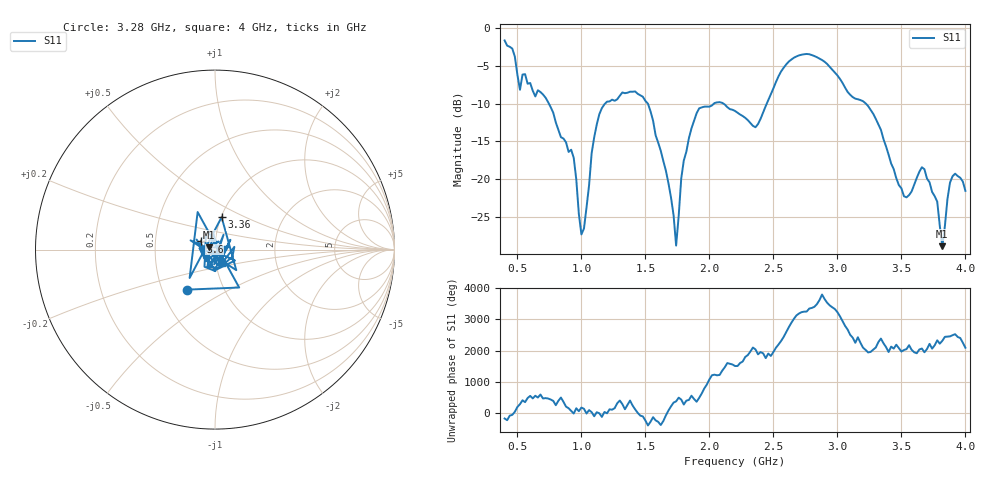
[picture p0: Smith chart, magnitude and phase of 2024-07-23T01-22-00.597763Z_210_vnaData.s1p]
!Created with skrf (http://scikit-rf.org).
# Hz S RI R 50.0
!freq ReS11 ImS11
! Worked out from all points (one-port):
!   181 points, 400 MHz to 4 GHz, reference 50 ohm
!   lowest |S11| = -28.8 dB at 3.82 GHz (marker M1), VSWR 1.08, Z = 46.7 + j1.2 ohm
!   |S11| at or under -10 dB: 745.7 MHz to 1.185 GHz (439.6 MHz wide, 45.5 % of centre); 1.519 GHz to 2.036 GHz (516.3 MHz wide, 29 % of centre); 3.222 GHz to end of sweep (the widest 3 of 4)
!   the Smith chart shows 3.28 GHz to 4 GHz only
!   S11 on the Smith chart (normalised r, x): 3.28 GHz: 0.67, -0.32; 3.36 GHz: 1.01, +0.38; 3.6 GHz: 0.85, +0.08; 4 GHz: 1.06, -0.16
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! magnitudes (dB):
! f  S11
! 400 MHz  -1.7
! 480 MHz  -3.8
! 520 MHz  -8.2
! 560 MHz  -6.1
! 860 MHz  -14.6
! 940 MHz  -17.2
! 1 GHz  -27.3
! 1.14 GHz  -11.4
! 1.3 GHz  -9.0
! 1.52 GHz  -10.0
! 1.68 GHz  -20.5
! 1.74 GHz  -28.8
! 1.76 GHz  -24.9
! 1.8 GHz  -17.5
! 1.92 GHz  -10.6
! 2.2 GHz  -11.0
! 2.36 GHz  -13.1
! 2.66 GHz  -3.9
! 3.1 GHz  -8.8
! 3.28 GHz  -11.3
! 3.36 GHz  -14.7
! 3.56 GHz  -22.1
! 3.6 GHz  -20.7
! 3.68 GHz  -18.7
! 3.78 GHz  -23.0
! 3.82 GHz  -28.8
! 3.9 GHz  -19.6
! 4 GHz  -21.5
